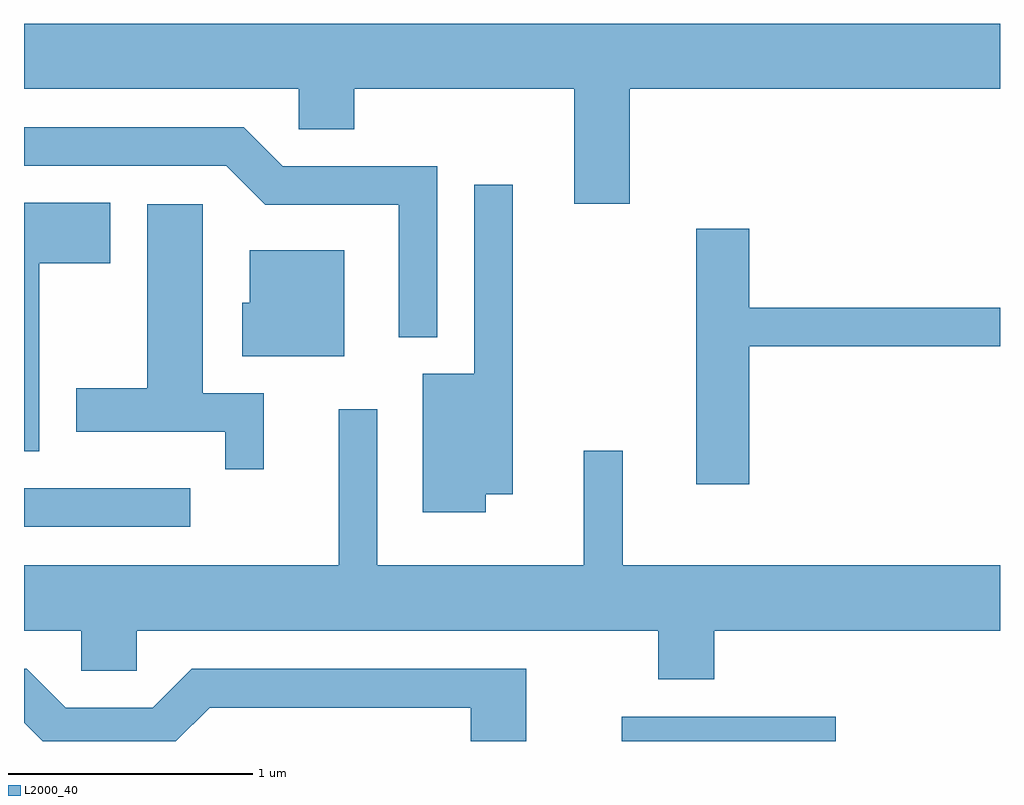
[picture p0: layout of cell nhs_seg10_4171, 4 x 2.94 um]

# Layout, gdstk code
import gdstk
lib = gdstk.Library(unit=1e-6, precision=1e-09)
def R(c, l, rs):  # rectangles x0, y0, x1, y1
    for r in rs: c.add(gdstk.rectangle(r[:2], r[2:], *l))
def P(c, l, *ps):  # polygons
    for p in ps: c.add(gdstk.Polygon(p, *l))
L2000_40 = (2000, 40)

nhs_seg10_4171 = lib.new_cell('nhs_seg10_4171')
R(nhs_seg10_4171, L2000_40, [(310.061,2164.522,310.938,2164.624), (307.611,2165.401,308.293,2165.559)])
P(nhs_seg10_4171, L2000_40, [(310.094,2167.196),(311.611,2167.196),(311.611,2167.464),(307.611,2167.464),(307.611,2167.196),(308.736,2167.196),(308.736,2167.031),(308.964,2167.031),(308.964,2167.196),(309.866,2167.196),(309.866,2166.726),(310.094,2166.726)],
  [(309.304,2166.879),(308.672,2166.879),(308.512,2167.039),(307.611,2167.039),(307.611,2166.881),(308.439,2166.881),(308.599,2166.721),(309.146,2166.721),(309.146,2166.178),(309.304,2166.178)],
  [(309.504,2165.536),(309.614,2165.536),(309.614,2166.803),(309.456,2166.803),(309.456,2166.029),(309.246,2166.029),(309.246,2165.461),(309.504,2165.461)],
  [(307.674,2166.481),(307.964,2166.481),(307.964,2166.729),(307.611,2166.729),(307.611,2165.711),(307.674,2165.711)],
  [(308.594,2165.949),(308.344,2165.949),(308.344,2166.724),(308.116,2166.724),(308.116,2165.969),(307.826,2165.969),(307.826,2165.791),(308.436,2165.791),(308.436,2165.638),(308.594,2165.638)],
  [(310.584,2166.141),(311.611,2166.141),(311.611,2166.299),(310.584,2166.299),(310.584,2166.624),(310.366,2166.624),(310.366,2165.576),(310.584,2165.576)],
  [(308.924,2166.534),(308.536,2166.534),(308.536,2166.319),(308.506,2166.319),(308.506,2166.101),(308.924,2166.101)],
  [(310.439,2164.976),(311.611,2164.976),(311.611,2165.244),(310.064,2165.244),(310.064,2165.713),(309.906,2165.713),(309.906,2165.244),(309.059,2165.244),(309.059,2165.883),(308.901,2165.883),(308.901,2165.244),(307.611,2165.244),(307.611,2164.976),(307.846,2164.976),(307.846,2164.811),(308.074,2164.811),(308.074,2164.976),(310.211,2164.976),(310.211,2164.776),(310.439,2164.776)],
  [(308.372,2164.661),(309.441,2164.661),(309.441,2164.522),(309.669,2164.522),(309.669,2164.819),(308.299,2164.819),(308.139,2164.659),(307.782,2164.659),(307.622,2164.819),(307.611,2164.819),(307.611,2164.599),(307.688,2164.522),(308.233,2164.522)])

lib.write_gds('nhs_seg10_4171.gds')
